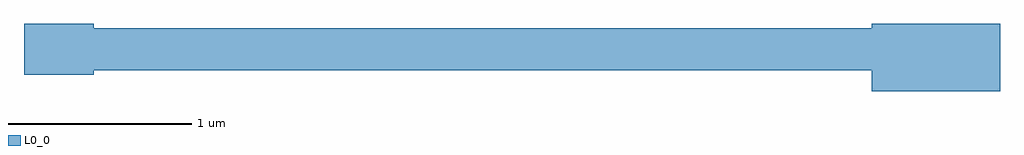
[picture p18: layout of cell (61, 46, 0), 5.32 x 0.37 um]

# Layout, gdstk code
import gdstk
lib = gdstk.Library(unit=1e-6, precision=1e-09)
def P(c, l, *ps):  # polygons
    for p in ps: c.add(gdstk.Polygon(p, *l))
L0_0 = (0, 0)

c__61__46__0_ = lib.new_cell('(61, 46, 0)')
P(c__61__46__0_, L0_0, [(921.5,928.34),(921.88,928.34),(921.88,928.06),(921.5,928.06),(921.5,928.34)],
  [(926.12,928.34),(926.5,928.34),(926.5,928.06),(926.12,928.06),(926.12,928.34)],
  [(921.575,928.315),(926.31,928.315),(926.31,928.085),(921.575,928.085),(921.575,928.315)],
  [(926.82,928.34),(926.82,927.97),(926.12,927.97),(926.12,928.34),(926.82,928.34)],
  [(926.12,928.34),(926.5,928.34),(926.5,928.06),(926.12,928.06),(926.12,928.34)],
  [(926.82,928.34),(926.82,927.97),(926.12,927.97),(926.12,928.34),(926.82,928.34)])

lib.write_gds('_61__46__0_.gds')
